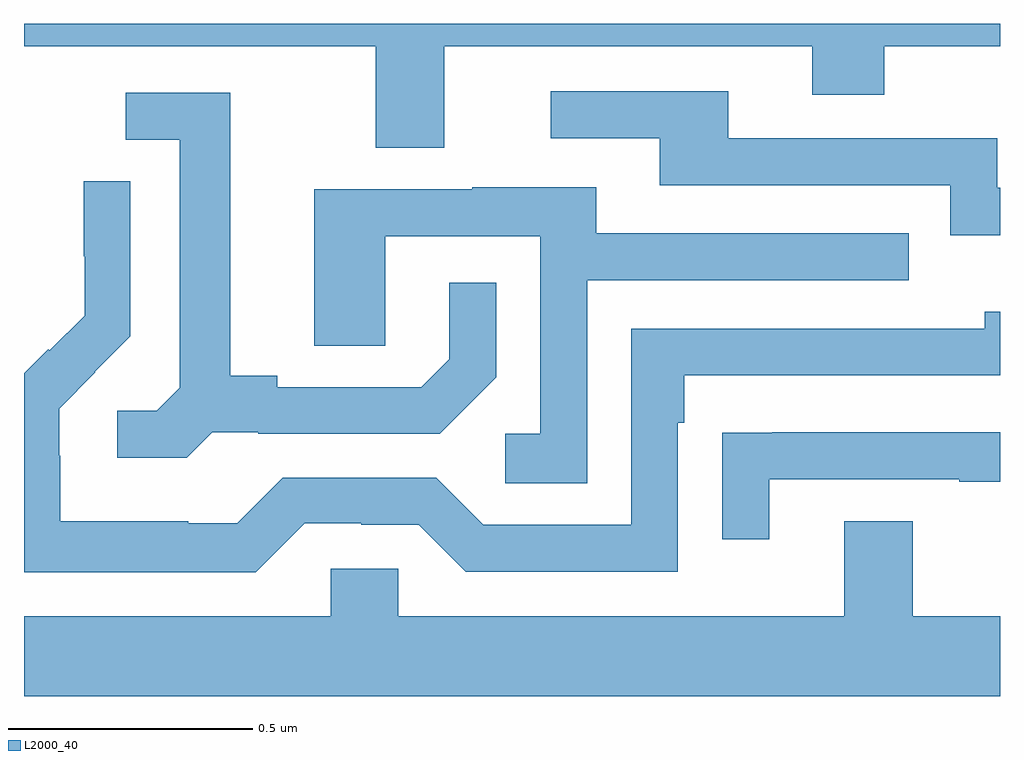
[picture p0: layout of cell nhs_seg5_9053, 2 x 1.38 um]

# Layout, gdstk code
import gdstk
lib = gdstk.Library(unit=1e-6, precision=1e-09)
def P(c, l, *ps):  # polygons
    for p in ps: c.add(gdstk.Polygon(p, *l))
L2000_40 = (2000, 40)

nhs_seg5_9053 = lib.new_cell('nhs_seg5_9053')
P(nhs_seg5_9053, L2000_40, [(229.861,864.752),(230.615,864.752),(230.615,864.653),(230.763,864.653),(230.763,864.752),(231,864.752),(231,864.799),(229,864.799),(229,864.752),(229.721,864.752),(229.721,864.544),(229.861,864.544)],
  [(231,864.462),(230.994,864.462),(230.994,864.564),(230.443,864.564),(230.443,864.66),(230.079,864.66),(230.079,864.564),(230.303,864.564),(230.303,864.468),(230.898,864.468),(230.898,864.365),(231,864.365)],
  [(229.386,863.961),(229.48,863.961),(229.48,863.958),(229.852,863.958),(229.968,864.074),(229.968,864.268),(229.871,864.268),(229.871,864.111),(229.814,864.054),(229.519,864.054),(229.519,864.077),(229.423,864.077),(229.423,864.657),(229.209,864.657),(229.209,864.561),(229.319,864.561),(229.319,864.053),(229.272,864.006),(229.191,864.006),(229.191,863.909),(229.334,863.909)],
  [(229.575,863.775),(229.691,863.775),(229.691,863.772),(229.809,863.772),(229.905,863.676),(230.34,863.676),(230.34,863.981),(230.353,863.981),(230.353,864.078),(231,864.078),(231,864.208),(230.969,864.208),(230.969,864.174),(230.244,864.174),(230.244,863.772),(229.941,863.772),(229.845,863.868),(229.53,863.868),(229.437,863.775),(229.337,863.775),(229.337,863.779),(229.074,863.779),(229.074,863.913),(229.072,863.913),(229.072,864.01),(229.146,864.084),(229.145,864.085),(229.218,864.158),(229.218,864.476),(229.122,864.476),(229.122,864.322),(229.124,864.322),(229.124,864.2),(229.053,864.129),(229.05,864.132),(229,864.082),(229,863.675),(229.475,863.675)],
  [(230.154,864.273),(230.813,864.273),(230.813,864.369),(230.173,864.369),(230.173,864.463),(229.919,864.463),(229.919,864.459),(229.595,864.459),(229.595,864.139),(229.74,864.139),(229.74,864.363),(230.058,864.363),(230.058,863.958),(229.986,863.958),(229.986,863.857),(230.154,863.857)],
  [(230.527,863.865),(230.917,863.865),(230.917,863.86),(231,863.86),(231,863.961),(230.533,863.961),(230.533,863.96),(230.431,863.96),(230.431,863.742),(230.527,863.742)],
  [(231,863.584),(230.821,863.584),(230.821,863.779),(230.681,863.779),(230.681,863.584),(229.767,863.584),(229.767,863.682),(229.629,863.682),(229.629,863.584),(229,863.584),(229,863.42),(231,863.42)])

lib.write_gds('nhs_seg5_9053.gds')
